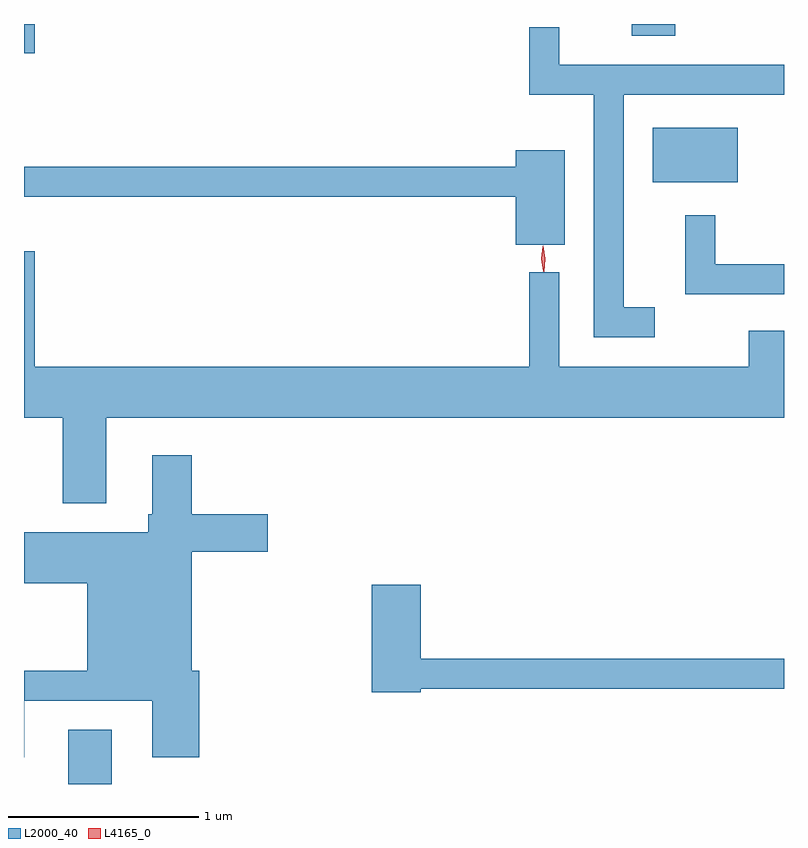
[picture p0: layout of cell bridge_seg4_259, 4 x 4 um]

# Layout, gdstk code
import gdstk
lib = gdstk.Library(unit=1e-6, precision=1e-09)
def R(c, l, rs):  # rectangles x0, y0, x1, y1
    for r in rs: c.add(gdstk.rectangle(r[:2], r[2:], *l))
def P(c, l, *ps):  # polygons
    for p in ps: c.add(gdstk.Polygon(p, *l))
L2000_40 = (2000, 40)
L4165_0 = (4165, 0)

bridge_seg4_259 = lib.new_cell('bridge_seg4_259')
R(bridge_seg4_259, L2000_40, [(675.061,1330.549,675.289,1330.834), (678.136,1333.716,678.584,1334.004), (674.827,1334.396,674.884,1334.549), (678.026,1334.486,678.254,1334.549)])
P(bridge_seg4_259, L2000_40, [(678.148,1333.059),(677.984,1333.059),(677.984,1334.176),(678.827,1334.176),(678.827,1334.334),(677.644,1334.334),(677.644,1334.533),(677.486,1334.533),(677.486,1334.176),(677.826,1334.176),(677.826,1332.901),(678.148,1332.901)],
  [(677.674,1333.884),(677.416,1333.884),(677.416,1333.799),(674.827,1333.799),(674.827,1333.641),(677.416,1333.641),(677.416,1333.386),(677.674,1333.386)],
  [(678.827,1333.284),(678.464,1333.284),(678.464,1333.543),(678.306,1333.543),(678.306,1333.126),(678.827,1333.126)],
  [(675.259,1332.476),(678.827,1332.476),(678.827,1332.934),(678.641,1332.934),(678.641,1332.744),(677.644,1332.744),(677.644,1333.243),(677.486,1333.243),(677.486,1332.744),(674.884,1332.744),(674.884,1333.354),(674.827,1333.354),(674.827,1332.476),(675.031,1332.476),(675.031,1332.026),(675.259,1332.026)],
  [(674.829,1330.986),(675.501,1330.986),(675.501,1330.691),(675.749,1330.691),(675.749,1331.144),(675.709,1331.144),(675.709,1331.771),(676.109,1331.771),(676.109,1331.969),(675.709,1331.969),(675.709,1332.279),(675.501,1332.279),(675.501,1331.969),(675.481,1331.969),(675.481,1331.874),(674.827,1331.874),(674.827,1331.606),(675.161,1331.606),(675.161,1331.144),(674.827,1331.144),(674.827,1330.691),(674.829,1330.691)],
  [(676.914,1331.051),(678.827,1331.051),(678.827,1331.209),(676.914,1331.209),(676.914,1331.599),(676.656,1331.599),(676.656,1331.031),(676.914,1331.031)])
P(bridge_seg4_259, L4165_0, [(677.561,1333.248),(677.561,1333.248),(677.549,1333.313),(677.556,1333.379),(677.557,1333.379),(677.557,1333.379),(677.569,1333.314),(677.562,1333.248)],
  [(677.563,1333.245),(677.552,1333.313),(677.559,1333.382),(677.56,1333.382),(677.56,1333.382),(677.571,1333.314),(677.564,1333.245),(677.564,1333.245)])

lib.write_gds('bridge_seg4_259.gds')
